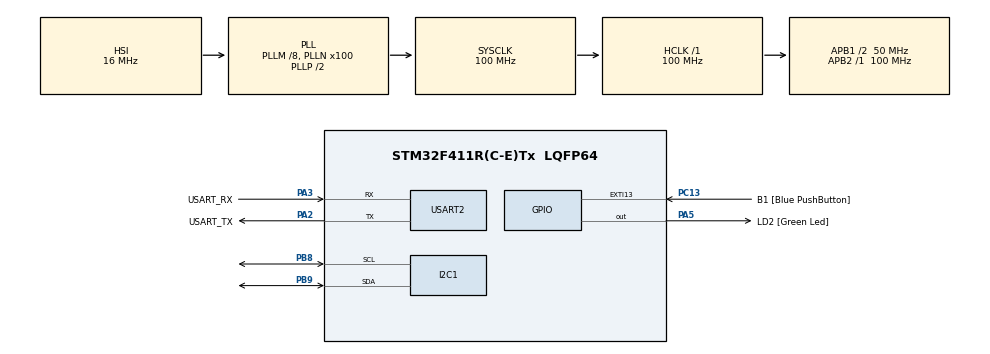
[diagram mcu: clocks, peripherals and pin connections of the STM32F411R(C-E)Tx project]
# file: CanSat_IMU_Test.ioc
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Mcu.Family=STM32F4
Mcu.Name=STM32F411R(C-E)Tx
Mcu.Package=LQFP64
NVIC.PriorityGroup=NVIC_PRIORITYGROUP_0
PA13.GPIO_Label=TMS
PA13.Mode=Serial_Wire
PA13.Signal=SYS_JTMS-SWDIO
PA14.GPIO_Label=TCK
PA14.Mode=Serial_Wire
PA14.Signal=SYS_JTCK-SWCLK
PA2.GPIO_Label=USART_TX
PA2.Mode=Asynchronous
PA2.Signal=USART2_TX
PA3.GPIO_Label=USART_RX
PA3.Mode=Asynchronous
PA3.Signal=USART2_RX
PA5.GPIO_Label=LD2 [Green Led]
PA5.Signal=GPIO_Output
PB3.GPIO_Label=SWO
PB3.Signal=SYS_JTDO-SWO
PB8.Mode=I2C
PB8.Signal=I2C1_SCL
PB9.Mode=I2C
PB9.Signal=I2C1_SDA
PC13-ANTI_TAMP.GPIO_Label=B1 [Blue PushButton]
PC13-ANTI_TAMP.GPIO_ModeDefaultEXTI=GPIO_MODE_IT_FALLING
PC13-ANTI_TAMP.Signal=GPXTI13
PC14-OSC32_IN.Mode=LSE-External-Oscillator
PC14-OSC32_IN.Signal=RCC_OSC32_IN
PC15-OSC32_OUT.Mode=LSE-External-Oscillator
PC15-OSC32_OUT.Signal=RCC_OSC32_OUT
PH0\ -\ OSC_IN.Mode=HSE-External-Clock-Source
PH0\ -\ OSC_IN.Signal=RCC_OSC_IN
PH1\ -\ OSC_OUT.Mode=HSE-External-Clock-Source
PH1\ -\ OSC_OUT.Signal=RCC_OSC_OUT
ProjectManager.HeapSize=0x200
ProjectManager.StackSize=0x400
ProjectManager.TargetToolchain=STM32CubeIDE
RCC.48MHZClocksFreq_Value=50000000
RCC.AHBFreq_Value=100000000
RCC.APB1CLKDivider=RCC_HCLK_DIV2
RCC.APB1Freq_Value=50000000
RCC.APB1TimFreq_Value=100000000
RCC.APB2Freq_Value=100000000
RCC.APB2TimFreq_Value=100000000
RCC.CortexFreq_Value=100000000
RCC.FLatency-AdvancedSettings=FLASH_LATENCY_3
RCC.HCLKFreq_Value=100000000
RCC.HSE_VALUE=8000000
RCC.HSI_VALUE=16000000
RCC.PLLM=8
RCC.PLLN=100
RCC.SYSCLKFreq_VALUE=100000000
RCC.SYSCLKSource=RCC_SYSCLKSOURCE_PLLCLK
RCC.VCOOutputFreq_Value=200000000
USART2.VirtualMode=VM_ASYNC
board=NUCLEO-F411RE

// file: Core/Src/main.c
/* USER CODE BEGIN Header */
/**
  ******************************************************************************
  * @file           : main.c
  * @brief          : Main program body
  ******************************************************************************
  * @attention
  *
  * Copyright (c) 2026 STMicroelectronics.
  * All rights reserved.
  *
  * This software is licensed under terms that can be found in the LICENSE file
  * in the root directory of this software component.
  * If no LICENSE file comes with this software, it is provided AS-IS.
  *
  ******************************************************************************
  */
/* USER CODE END Header */
#include "main.h"

I2C_HandleTypeDef hi2c1;

UART_HandleTypeDef huart2;

/* USER CODE BEGIN PV */
/* USER CODE BEGIN PV */
/* USER CODE BEGIN PV */
uint8_t check = 0;
uint8_t data = 0;
/* USER CODE BEGIN PV */
// --- MPU9250 (Acelerómetro y Giroscopio) ---
float ax, ay, az; // Aceleración en g
float gx, gy, gz; // Velocidad angular en dps

// --- AK8963 (Magnetómetro) ---
float mx, my, mz; // Campo magnético en uT

// --- BMP280 (Barómetro y Temperatura) ---
float temp_c;     // Temperatura en °C
float press_hpa;  // Presión en hPa

// Buffers para lectura de registros
uint8_t mpu_buf[14], mag_buf[7], baro_buf[6];
/* USER CODE END PV */

void SystemClock_Config(void);
static void MX_GPIO_Init(void);
static void MX_I2C1_Init(void);
static void MX_USART2_UART_Init(void);

int main(void)
{

  /* MCU Configuration--------------------------------------------------------*/

  /* Reset of all peripherals, Initializes the Flash interface and the Systick. */
  HAL_Init();

  /* Configure the system clock */
  SystemClock_Config();

  /* Initialize all configured peripherals */
  MX_GPIO_Init();
  MX_I2C1_Init();
  MX_USART2_UART_Init();
  /* USER CODE BEGIN 2 */
  // Definiciones de registros
  #define MPU9250_ADDR (0x68 << 1)
  #define PWR_MGMT_1   0x6B
  #define WHO_AM_I     0x75

  /* USER CODE BEGIN 2 */
  /* USER CODE BEGIN 2 */
  uint8_t reg_val;

  // 1. Reset y Despertar MPU9250
  reg_val = 0x80; // Reset total
  HAL_I2C_Mem_Write(&hi2c1, (0x68 << 1), 0x6B, 1, &reg_val, 1, 100);
  HAL_Delay(100);
  reg_val = 0x00; // Despertar
  HAL_I2C_Mem_Write(&hi2c1, (0x68 << 1), 0x6B, 1, &reg_val, 1, 100);

  // 2. ACTIVAR BYPASS (Vital para mx, my, mz)
  reg_val = 0x02;
  HAL_I2C_Mem_Write(&hi2c1, (0x68 << 1), 0x37, 1, &reg_val, 1, 100);
  HAL_Delay(50);

  // 3. Inicializar Magnetómetro AK8963
  reg_val = 0x16; // Modo Continuo 2 (100Hz) y 16-bit
  HAL_I2C_Mem_Write(&hi2c1, (0x0C << 1), 0x0A, 1, &reg_val, 1, 100);

  // 4. Inicializar BMP280 (Modo Normal y Oversampling)
  reg_val = 0x27;
  HAL_I2C_Mem_Write(&hi2c1, (0x76 << 1), 0xF4, 1, &reg_val, 1, 100);
  /* USER CODE END 2 */
  /* USER CODE BEGIN WHILE */
    while (1)
    {
      // A. Leer Acelerómetro y Giroscopio (14 bytes desde 0x3B)
      HAL_I2C_Mem_Read(&hi2c1, (0x68 << 1), 0x3B, 1, mpu_buf, 14, 100);
      ax = (int16_t)(mpu_buf[0]<<8 | mpu_buf[1]) / 16384.0f;
      ay = (int16_t)(mpu_buf[2]<<8 | mpu_buf[3]) / 16384.0f;
      az = (int16_t)(mpu_buf[4]<<8 | mpu_buf[5]) / 16384.0f;
      gx = (int16_t)(mpu_buf[8]<<8 | mpu_buf[9]) / 131.0f;
      gy = (int16_t)(mpu_buf[10]<<8 | mpu_buf[11]) / 131.0f;
      gz = (int16_t)(mpu_buf[12]<<8 | mpu_buf[13]) / 131.0f;

      // B. Leer Magnetómetro (7 bytes desde 0x03)
      // Se leen 7 bytes para incluir el registro ST2 que libera los datos
      // 1. Leer 7 bytes (el séptimo es el registro ST2, obligatorio para desbloquear)
      HAL_I2C_Mem_Read(&hi2c1, (0x0C << 1), 0x03, 1, mag_buf, 7, 100);

      // 2. Verificar si hay "Magnetic Sensor Overflow" (opcional pero académico)
      if (!(mag_buf[6] & 0x08)) { // Si el bit 3 de ST2 no es 1, el dato es válido
          mx = (int16_t)(mag_buf[1] << 8 | mag_buf[0]) * 0.15f;
          my = (int16_t)(mag_buf[3] << 8 | mag_buf[2]) * 0.15f;
          mz = (int16_t)(mag_buf[5] << 8 | mag_buf[4]) * 0.15f;
      }
      // C. Leer Barómetro (6 bytes desde 0xF7)
      HAL_I2C_Mem_Read(&hi2c1, (0x76 << 1), 0xF7, 1, baro_buf, 6, 100);

      // Dentro del while(1) después de leer baro_buf
      temp_c = (float)((baro_buf[3] << 12) | (baro_buf[4] << 4) | (baro_buf[5] >> 4)) / 16384.0f;
      press_hpa = (float)((baro_buf[0] << 12) | (baro_buf[1] << 4) | (baro_buf[2] >> 4)) / 100.0f;
      // Nota: Los datos de baro_buf requieren fórmulas de compensación
      // Por ahora, verifica que los bytes cambien en Live Expressions.

      HAL_Delay(100); // Frecuencia de muestreo de 10Hz
      /* USER CODE END WHILE */
    }
  /* USER CODE END 3 */
}

void SystemClock_Config(void)
{
  RCC_OscInitTypeDef RCC_OscInitStruct = {0};
  RCC_ClkInitTypeDef RCC_ClkInitStruct = {0};

  /** Configure the main internal regulator output voltage
  */
  __HAL_RCC_PWR_CLK_ENABLE();
  __HAL_PWR_VOLTAGESCALING_CONFIG(PWR_REGULATOR_VOLTAGE_SCALE1);

  /** Initializes the RCC Oscillators according to the specified parameters
  * in the RCC_OscInitTypeDef structure.
  */
  RCC_OscInitStruct.OscillatorType = RCC_OSCILLATORTYPE_HSI;
  RCC_OscInitStruct.HSIState = RCC_HSI_ON;
  RCC_OscInitStruct.HSICalibrationValue = RCC_HSICALIBRATION_DEFAULT;
  RCC_OscInitStruct.PLL.PLLState = RCC_PLL_ON;
  RCC_OscInitStruct.PLL.PLLSource = RCC_PLLSOURCE_HSI;
  RCC_OscInitStruct.PLL.PLLM = 8;
  RCC_OscInitStruct.PLL.PLLN = 100;
  RCC_OscInitStruct.PLL.PLLP = RCC_PLLP_DIV2;
  RCC_OscInitStruct.PLL.PLLQ = 4;
  if (HAL_RCC_OscConfig(&RCC_OscInitStruct) != HAL_OK)
  {
    Error_Handler();
  }

  /** Initializes the CPU, AHB and APB buses clocks
  */
  RCC_ClkInitStruct.ClockType = RCC_CLOCKTYPE_HCLK|RCC_CLOCKTYPE_SYSCLK
                              |RCC_CLOCKTYPE_PCLK1|RCC_CLOCKTYPE_PCLK2;
  RCC_ClkInitStruct.SYSCLKSource = RCC_SYSCLKSOURCE_PLLCLK;
  RCC_ClkInitStruct.AHBCLKDivider = RCC_SYSCLK_DIV1;
  RCC_ClkInitStruct.APB1CLKDivider = RCC_HCLK_DIV2;
  RCC_ClkInitStruct.APB2CLKDivider = RCC_HCLK_DIV1;

  if (HAL_RCC_ClockConfig(&RCC_ClkInitStruct, FLASH_LATENCY_3) != HAL_OK)
  {
    Error_Handler();
  }
}

static void MX_I2C1_Init(void)
{

  hi2c1.Instance = I2C1;
  hi2c1.Init.ClockSpeed = 100000;
  hi2c1.Init.DutyCycle = I2C_DUTYCYCLE_2;
  hi2c1.Init.OwnAddress1 = 0;
  hi2c1.Init.AddressingMode = I2C_ADDRESSINGMODE_7BIT;
  hi2c1.Init.DualAddressMode = I2C_DUALADDRESS_DISABLE;
  hi2c1.Init.OwnAddress2 = 0;
  hi2c1.Init.GeneralCallMode = I2C_GENERALCALL_DISABLE;
  hi2c1.Init.NoStretchMode = I2C_NOSTRETCH_DISABLE;
  if (HAL_I2C_Init(&hi2c1) != HAL_OK)
  {
    Error_Handler();
  }

}

static void MX_USART2_UART_Init(void)
{

  huart2.Instance = USART2;
  huart2.Init.BaudRate = 115200;
  huart2.Init.WordLength = UART_WORDLENGTH_8B;
  huart2.Init.StopBits = UART_STOPBITS_1;
  huart2.Init.Parity = UART_PARITY_NONE;
  huart2.Init.Mode = UART_MODE_TX_RX;
  huart2.Init.HwFlowCtl = UART_HWCONTROL_NONE;
  huart2.Init.OverSampling = UART_OVERSAMPLING_16;
  if (HAL_UART_Init(&huart2) != HAL_OK)
  {
    Error_Handler();
  }

}

static void MX_GPIO_Init(void)
{
  GPIO_InitTypeDef GPIO_InitStruct = {0};

  /* GPIO Ports Clock Enable */
  __HAL_RCC_GPIOC_CLK_ENABLE();
  __HAL_RCC_GPIOH_CLK_ENABLE();
  __HAL_RCC_GPIOA_CLK_ENABLE();
  __HAL_RCC_GPIOB_CLK_ENABLE();

  /*Configure GPIO pin Output Level */
  HAL_GPIO_WritePin(LD2_GPIO_Port, LD2_Pin, GPIO_PIN_RESET);

  /*Configure GPIO pin : B1_Pin */
  GPIO_InitStruct.Pin = B1_Pin;
  GPIO_InitStruct.Mode = GPIO_MODE_IT_FALLING;
  GPIO_InitStruct.Pull = GPIO_NOPULL;
  HAL_GPIO_Init(B1_GPIO_Port, &GPIO_InitStruct);

  /*Configure GPIO pin : LD2_Pin */
  GPIO_InitStruct.Pin = LD2_Pin;
  GPIO_InitStruct.Mode = GPIO_MODE_OUTPUT_PP;
  GPIO_InitStruct.Pull = GPIO_NOPULL;
  GPIO_InitStruct.Speed = GPIO_SPEED_FREQ_LOW;
  HAL_GPIO_Init(LD2_GPIO_Port, &GPIO_InitStruct);

}

void Error_Handler(void)
{
  __disable_irq();
  while (1)
  {
  }
}
